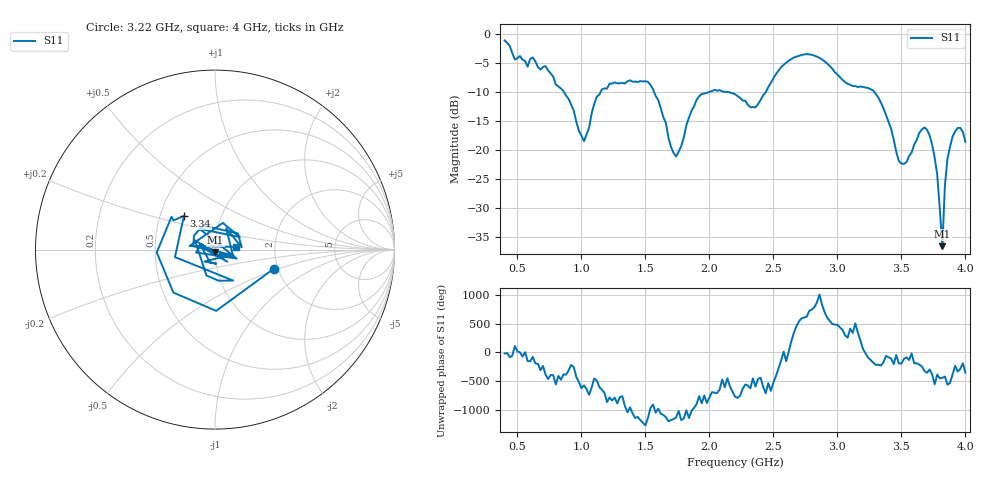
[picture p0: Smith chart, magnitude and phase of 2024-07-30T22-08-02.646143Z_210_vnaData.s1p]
!Created with skrf (http://scikit-rf.org).
# Hz S RI R 50.0
!freq ReS11 ImS11
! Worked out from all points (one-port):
!   181 points, 400 MHz to 4 GHz, reference 50 ohm
!   lowest |S11| = -36.5 dB at 3.82 GHz (marker M1), VSWR 1.03, Z = 50.1 - j1.48 ohm
!   |S11| at or under -10 dB: 1.568 GHz to 2.001 GHz (433.6 MHz wide, 24.3 % of centre); 2.119 GHz to 2.441 GHz (322.4 MHz wide, 14.1 % of centre); 3.288 GHz to end of sweep (the widest 3 of 4)
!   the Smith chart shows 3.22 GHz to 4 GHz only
!   S11 on the Smith chart (normalised r, x): 3.22 GHz: 1.91, -0.46; 3.34 GHz: 0.66, +0.27; 4 GHz: 1.26, +0.04
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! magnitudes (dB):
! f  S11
! 400 MHz  -1.2
! 480 MHz  -4.4
! 620 MHz  -4.1
! 860 MHz  -9.9
! 1.02 GHz  -18.5
! 1.12 GHz  -10.8
! 1.3 GHz  -8.5
! 1.52 GHz  -8.3
! 1.72 GHz  -20.5
! 1.76 GHz  -20.3
! 1.92 GHz  -10.7
! 2.2 GHz  -10.4
! 2.36 GHz  -12.7
! 2.66 GHz  -4.1
! 2.86 GHz  -4.2
! 3.1 GHz  -8.8
! 3.22 GHz  -9.2
! 3.34 GHz  -11.9
! 3.48 GHz  -21.9
! 3.56 GHz  -21.0
! 3.66 GHz  -16.5
! 3.72 GHz  -17.5
! 3.78 GHz  -24.3
! 3.82 GHz  -36.5
! 3.84 GHz  -26.1
! 3.88 GHz  -19.4
! 3.94 GHz  -16.2
! 4 GHz  -18.6
